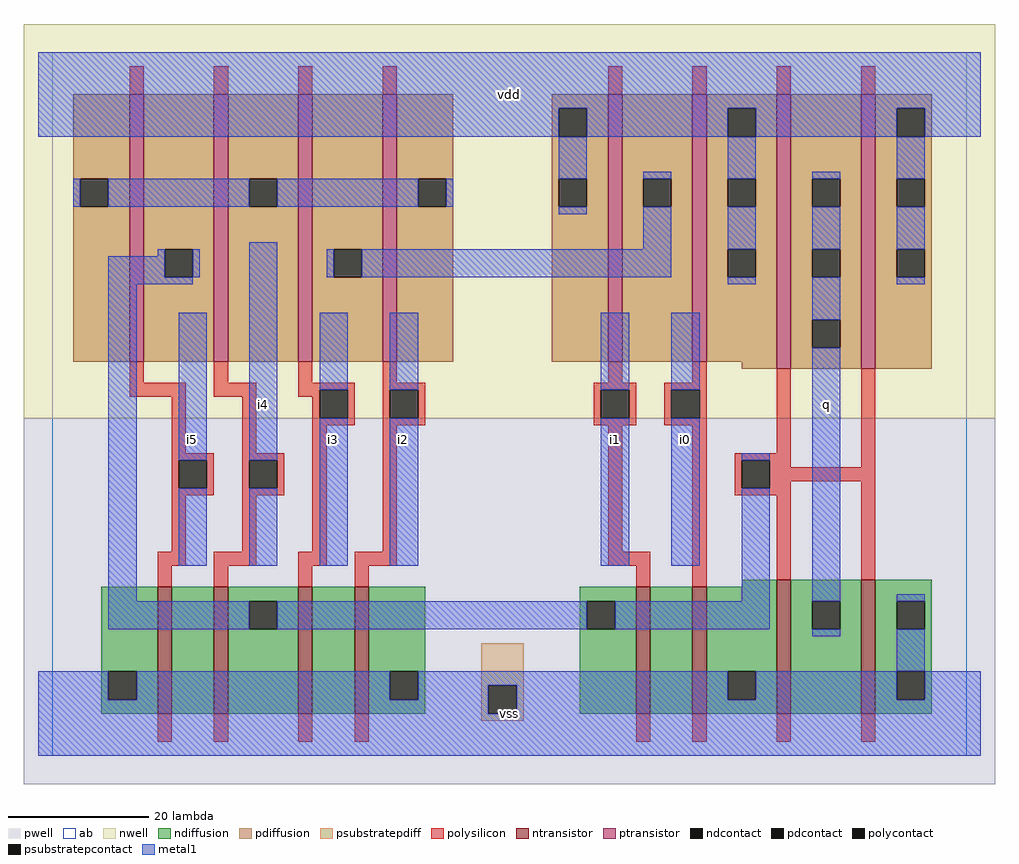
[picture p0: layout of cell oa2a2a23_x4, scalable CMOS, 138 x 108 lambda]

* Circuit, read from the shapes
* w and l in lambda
.subckt oa2a2a23_x4 i0 i1 i2 i3 i4 i5 q vdd vss
M1 n1 i5 vss vss nfet w=18 l=2
M2 n2 i4 n1 vss nfet w=18 l=2
M3 n3 i3 n2 vss nfet w=18 l=2
M4 vss i2 n3 vss nfet w=18 l=2
M5 n4 i1 n2 vss nfet w=18 l=2
M6 vss i0 n4 vss nfet w=18 l=2
M7 q n2 vss vss nfet w=19 l=2 m=2
M8 n2 i5 n5 n6 pfet w=38 l=2
M9 n5 i4 n2 n6 pfet w=38 l=2
M10 n7 i3 n5 n6 pfet w=38 l=2
M11 n5 i2 n7 n6 pfet w=38 l=2
M12 n7 i1 vdd n6 pfet w=38 l=2
M13 vdd i0 n7 n6 pfet w=38 l=2
M14 q n2 vdd n6 pfet w=39 l=2 m=2
.ends

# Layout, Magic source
magic
tech scmos
<< ab >>
rect 0 0 130 100
<< pwell >>
rect -4 -4 134 48
<< nwell >>
rect -4 48 134 104
<< polysilicon >>
rect 11 94 13 98
rect 23 94 25 98
rect 35 94 37 98
rect 47 94 49 98
rect 79 94 81 98
rect 91 94 93 98
rect 103 94 105 98
rect 115 94 117 98
rect 11 53 13 56
rect 23 53 25 56
rect 35 53 37 56
rect 47 53 49 56
rect 79 53 81 56
rect 91 53 93 56
rect 11 51 19 53
rect 23 51 29 53
rect 35 52 43 53
rect 35 51 38 52
rect 17 43 19 51
rect 27 43 29 51
rect 37 48 38 51
rect 42 48 43 52
rect 37 47 43 48
rect 47 52 53 53
rect 47 48 48 52
rect 52 48 53 52
rect 47 47 53 48
rect 77 52 83 53
rect 77 48 78 52
rect 82 48 83 52
rect 77 47 83 48
rect 87 52 93 53
rect 87 48 88 52
rect 92 48 93 52
rect 87 47 93 48
rect 17 42 23 43
rect 17 38 18 42
rect 22 38 23 42
rect 17 37 23 38
rect 27 42 33 43
rect 27 38 28 42
rect 32 38 33 42
rect 27 37 33 38
rect 17 29 19 37
rect 27 29 29 37
rect 37 29 39 47
rect 47 29 49 47
rect 15 27 19 29
rect 23 27 29 29
rect 35 27 39 29
rect 43 27 49 29
rect 79 29 81 47
rect 79 27 85 29
rect 15 24 17 27
rect 23 24 25 27
rect 35 24 37 27
rect 43 24 45 27
rect 83 24 85 27
rect 91 24 93 47
rect 103 43 105 55
rect 97 42 105 43
rect 97 38 98 42
rect 102 41 105 42
rect 115 41 117 55
rect 102 39 117 41
rect 102 38 105 39
rect 97 37 105 38
rect 103 25 105 37
rect 115 25 117 39
rect 15 2 17 6
rect 23 2 25 6
rect 35 2 37 6
rect 43 2 45 6
rect 83 2 85 6
rect 91 2 93 6
rect 103 2 105 6
rect 115 2 117 6
<< ndiffusion >>
rect 98 24 103 25
rect 7 12 15 24
rect 7 8 8 12
rect 12 8 15 12
rect 7 6 15 8
rect 17 6 23 24
rect 25 22 35 24
rect 25 18 28 22
rect 32 18 35 22
rect 25 6 35 18
rect 37 6 43 24
rect 45 12 53 24
rect 75 22 83 24
rect 75 18 76 22
rect 80 18 83 22
rect 45 8 48 12
rect 52 8 53 12
rect 45 6 53 8
rect 75 6 83 18
rect 85 6 91 24
rect 93 12 103 24
rect 93 8 96 12
rect 100 8 103 12
rect 93 6 103 8
rect 105 22 115 25
rect 105 18 108 22
rect 112 18 115 22
rect 105 6 115 18
rect 117 22 125 25
rect 117 18 120 22
rect 124 18 125 22
rect 117 12 125 18
rect 117 8 120 12
rect 124 8 125 12
rect 117 6 125 8
<< pdiffusion >>
rect 3 82 11 94
rect 3 78 4 82
rect 8 78 11 82
rect 3 56 11 78
rect 13 72 23 94
rect 13 68 16 72
rect 20 68 23 72
rect 13 56 23 68
rect 25 82 35 94
rect 25 78 28 82
rect 32 78 35 82
rect 25 56 35 78
rect 37 72 47 94
rect 37 68 40 72
rect 44 68 47 72
rect 37 56 47 68
rect 49 82 57 94
rect 49 78 52 82
rect 56 78 57 82
rect 49 56 57 78
rect 71 92 79 94
rect 71 88 72 92
rect 76 88 79 92
rect 71 82 79 88
rect 71 78 72 82
rect 76 78 79 82
rect 71 56 79 78
rect 81 82 91 94
rect 81 78 84 82
rect 88 78 91 82
rect 81 56 91 78
rect 93 92 103 94
rect 93 88 96 92
rect 100 88 103 92
rect 93 82 103 88
rect 93 78 96 82
rect 100 78 103 82
rect 93 72 103 78
rect 93 68 96 72
rect 100 68 103 72
rect 93 56 103 68
rect 98 55 103 56
rect 105 82 115 94
rect 105 78 108 82
rect 112 78 115 82
rect 105 72 115 78
rect 105 68 108 72
rect 112 68 115 72
rect 105 62 115 68
rect 105 58 108 62
rect 112 58 115 62
rect 105 55 115 58
rect 117 92 125 94
rect 117 88 120 92
rect 124 88 125 92
rect 117 82 125 88
rect 117 78 120 82
rect 124 78 125 82
rect 117 72 125 78
rect 117 68 120 72
rect 124 68 125 72
rect 117 55 125 68
<< metal1 >>
rect -2 92 132 100
rect -2 88 72 92
rect 76 88 96 92
rect 100 88 120 92
rect 124 88 132 92
rect 72 82 76 88
rect 3 78 4 82
rect 8 78 28 82
rect 32 78 52 82
rect 56 78 57 82
rect 72 77 76 78
rect 84 82 88 83
rect 15 71 16 72
rect 8 68 16 71
rect 20 68 21 72
rect 8 67 20 68
rect 8 22 12 67
rect 18 42 22 63
rect 18 27 22 38
rect 28 42 32 73
rect 84 72 88 78
rect 39 68 40 72
rect 44 68 88 72
rect 96 82 100 88
rect 96 72 100 78
rect 96 67 100 68
rect 108 82 112 83
rect 108 72 112 78
rect 28 27 32 38
rect 38 52 42 63
rect 38 27 42 48
rect 48 52 52 63
rect 48 27 52 48
rect 78 52 82 63
rect 78 27 82 48
rect 88 52 92 63
rect 88 27 92 48
rect 108 62 112 68
rect 120 82 124 88
rect 120 72 124 78
rect 120 67 124 68
rect 98 42 102 43
rect 98 22 102 38
rect 8 18 28 22
rect 32 18 76 22
rect 80 18 102 22
rect 108 22 112 58
rect 108 17 112 18
rect 120 22 124 23
rect 120 12 124 18
rect -2 8 8 12
rect 12 8 48 12
rect 52 10 96 12
rect 52 8 62 10
rect -2 6 62 8
rect 66 8 96 10
rect 100 8 120 12
rect 124 8 132 12
rect 66 6 132 8
rect -2 0 132 6
<< ntransistor >>
rect 15 6 17 24
rect 23 6 25 24
rect 35 6 37 24
rect 43 6 45 24
rect 83 6 85 24
rect 91 6 93 24
rect 103 6 105 25
rect 115 6 117 25
<< ptransistor >>
rect 11 56 13 94
rect 23 56 25 94
rect 35 56 37 94
rect 47 56 49 94
rect 79 56 81 94
rect 91 56 93 94
rect 103 55 105 94
rect 115 55 117 94
<< polycontact >>
rect 38 48 42 52
rect 48 48 52 52
rect 78 48 82 52
rect 88 48 92 52
rect 18 38 22 42
rect 28 38 32 42
rect 98 38 102 42
<< ndcontact >>
rect 8 8 12 12
rect 28 18 32 22
rect 76 18 80 22
rect 48 8 52 12
rect 96 8 100 12
rect 108 18 112 22
rect 120 18 124 22
rect 120 8 124 12
<< pdcontact >>
rect 4 78 8 82
rect 16 68 20 72
rect 28 78 32 82
rect 40 68 44 72
rect 52 78 56 82
rect 72 88 76 92
rect 72 78 76 82
rect 84 78 88 82
rect 96 88 100 92
rect 96 78 100 82
rect 96 68 100 72
rect 108 78 112 82
rect 108 68 112 72
rect 108 58 112 62
rect 120 88 124 92
rect 120 78 124 82
rect 120 68 124 72
<< psubstratepcontact >>
rect 62 6 66 10
<< psubstratepdiff >>
rect 61 10 67 16
rect 61 6 62 10
rect 66 6 67 10
rect 61 5 67 6
<< labels >>
rlabel metal1 20 45 20 45 6 i5
rlabel metal1 30 50 30 50 6 i4
rlabel metal1 40 45 40 45 6 i3
rlabel metal1 65 6 65 6 6 vss
rlabel metal1 50 45 50 45 6 i2
rlabel metal1 65 94 65 94 6 vdd
rlabel metal1 80 45 80 45 6 i1
rlabel metal1 90 45 90 45 6 i0
rlabel metal1 110 50 110 50 6 q
<< end >>
